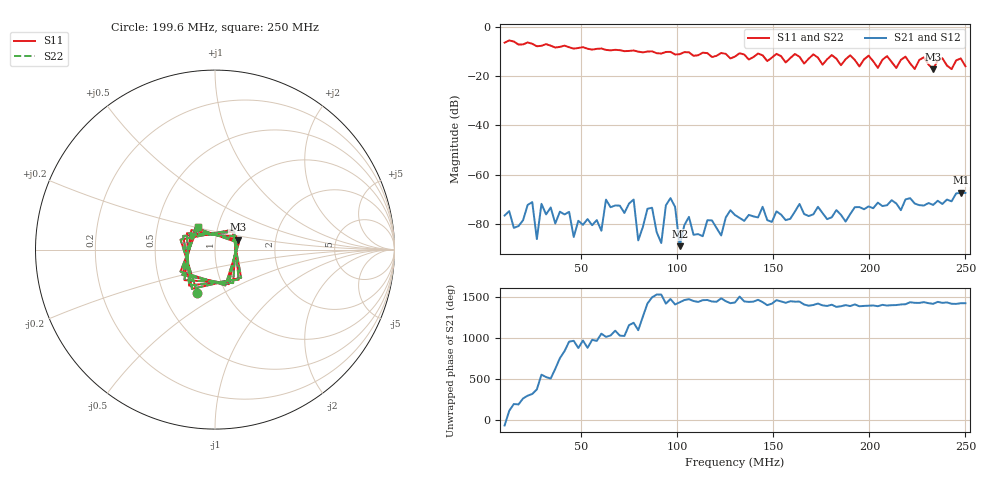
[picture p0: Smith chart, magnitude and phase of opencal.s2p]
# Hz S RI R 50
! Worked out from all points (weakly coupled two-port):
!   101 points, 10 MHz to 250 MHz, reference 50 ohm
!   highest |S21| = -67.31 dB at 247.6 MHz (marker M1); lowest = -89.0 dB at 101.2 MHz (marker M2)
!   lowest |S11| = -17.2 dB at 233.2 MHz (marker M3), VSWR 1.32, Z = 64 + j7.29 ohm
!   |S11| at or under -10 dB: 79.19 MHz to 86.01 MHz (6.813 MHz wide, 8.25 % of centre); 86.89 MHz to end of sweep
!   |S22| runs from -17.2 to -5.6 dB; largest |S21 - S12| = 0
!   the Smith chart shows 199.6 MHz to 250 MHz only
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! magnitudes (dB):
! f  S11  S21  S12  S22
! 10 MHz  -6.5  -76.5  -76.5  -6.5
! 17.2 MHz  -7.2  -80.8  -80.8  -7.2
! 24.4 MHz  -6.9  -71.1  -71.1  -6.9
! 26.8 MHz  -7.9  -86.1  -86.1  -7.9
! 29.2 MHz  -7.7  -71.8  -71.8  -7.7
! 50.8 MHz  -8.3  -80.3  -80.3  -8.3
! 60.4 MHz  -8.8  -82.7  -82.7  -8.8
! 62.8 MHz  -9.4  -70.1  -70.1  -9.4
! 72.4 MHz  -9.9  -75.5  -75.5  -9.9
! 77.2 MHz  -9.6  -70.0  -70.0  -9.6
! 79.6 MHz  -10.1  -86.6  -86.6  -10.1
! 86.8 MHz  -10.0  -73.4  -73.4  -10.0
! 91.6 MHz  -10.9  -87.7  -87.7  -10.9
! 96.4 MHz  -10.2  -69.5  -69.5  -10.2
! 101.2 MHz  -11.1  -89.0  -89.0  -11.1
! 130 MHz  -12.1  -76.3  -76.3  -12.1
! 170.8 MHz  -11.2  -76.1  -76.1  -11.2
! 187.6 MHz  -13.2  -79.0  -79.0  -13.2
! 211.6 MHz  -14.3  -70.3  -70.3  -14.3
! 233.2 MHz  -17.2  -72.2  -72.2  -17.2
! 247.6 MHz  -12.9  -67.3  -67.3  -12.9
! 250 MHz  -16.0  -67.4  -67.4  -16.0
